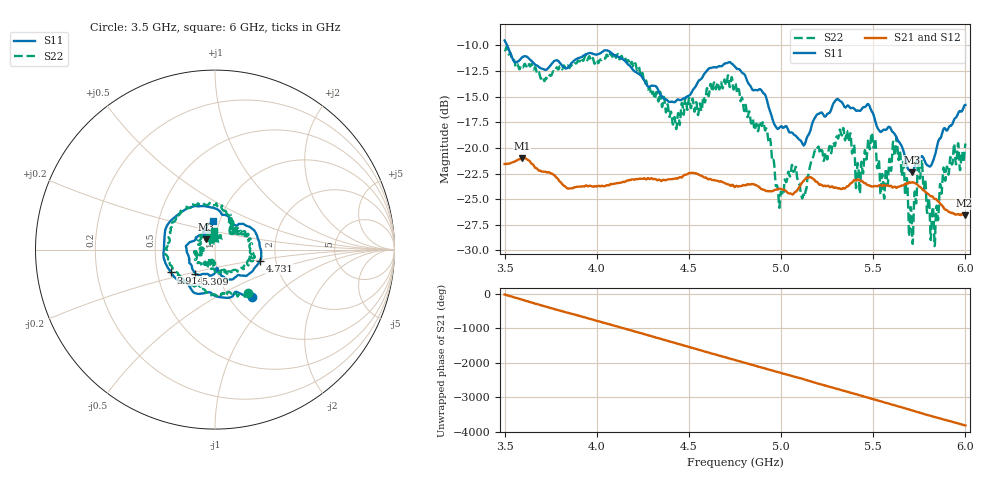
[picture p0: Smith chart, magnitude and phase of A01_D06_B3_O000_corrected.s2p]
! Created with skrf 1.9.0 (http://scikit-rf.org).
# Hz S RI R 50.0
!freq ReS11 ImS11 ReS21 ImS21 ReS12 ImS12 ReS22 ImS22
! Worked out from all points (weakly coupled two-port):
!   1601 points, 3.5 GHz to 6 GHz, reference 50 ohm
!   highest |S21| = -20.99 dB at 3.594 GHz (marker M1); lowest = -26.6 dB at 5.995 GHz (marker M2)
!   lowest |S11| = -22.4 dB at 5.711 GHz (marker M3), VSWR 1.16, Z = 44.9 + j5.14 ohm
!   |S11| at or under -10 dB: 3.513 GHz to end of sweep
!   |S22| runs from -29.6 to -10.1 dB; largest |S21 - S12| = 0.00095
!   S11 on the Smith chart (normalised r, x): 3.5 GHz: 1.28, -0.75; 3.914 GHz: 0.59, -0.16; 4.731 GHz: 1.65, -0.22; 5.309 GHz: 0.78, -0.21; 6 GHz: 0.93, +0.31
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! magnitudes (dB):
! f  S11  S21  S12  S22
! 3.5 GHz  -9.5  -21.6  -21.5  -10.4
! 3.594 GHz  -11.2  -21.0  -21.0  -12.1
! 3.914 GHz  -11.2  -23.8  -23.7  -11.3
! 3.917 GHz  -11.2  -23.8  -23.7  -11.2
! 4.334 GHz  -14.4  -23.1  -23.1  -15.5
! 4.423 GHz  -15.5  -23.0  -23.0  -17.1
! 4.731 GHz  -11.8  -23.7  -23.6  -13.1
! 4.75 GHz  -12.1  -23.8  -23.7  -13.7
! 4.914 GHz  -14.9  -24.2  -24.1  -18.3
! 4.997 GHz  -17.9  -24.0  -23.9  -24.5
! 5.167 GHz  -17.7  -23.0  -22.9  -21.1
! 5.309 GHz  -15.3  -24.0  -23.9  -19.1
! 5.417 GHz  -16.4  -23.1  -23.1  -21.6
! 5.484 GHz  -16.1  -23.7  -23.7  -19.8
! 5.55 GHz  -18.3  -23.7  -23.6  -22.6
! 5.584 GHz  -17.9  -23.7  -23.7  -21.8
! 5.634 GHz  -19.3  -23.8  -23.7  -20.9
! 5.711 GHz  -22.4  -23.4  -23.3  -28.4
! 5.753 GHz  -20.9  -23.8  -23.7  -23.0
! 5.823 GHz  -21.3  -24.8  -24.7  -25.7
! 5.995 GHz  -15.8  -26.6  -26.4  -20.4
! 6 GHz  -15.8  -26.5  -26.5  -19.6
